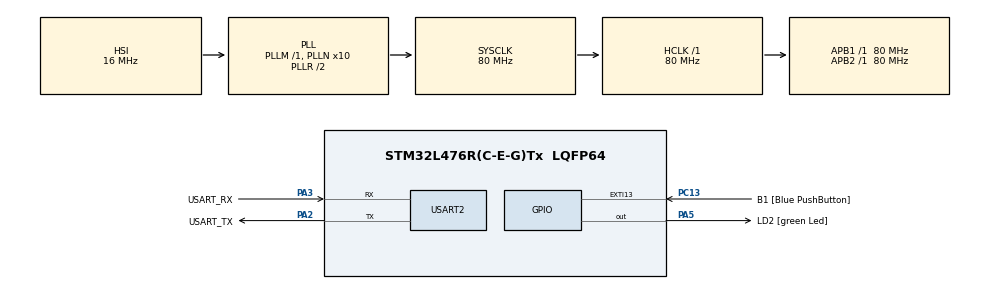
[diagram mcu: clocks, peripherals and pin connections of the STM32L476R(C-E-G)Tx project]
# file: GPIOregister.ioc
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Mcu.Family=STM32L4
Mcu.Name=STM32L476R(C-E-G)Tx
Mcu.Package=LQFP64
NVIC.PriorityGroup=NVIC_PRIORITYGROUP_4
PA13\ (JTMS-SWDIO).GPIO_Label=TMS
PA13\ (JTMS-SWDIO).Mode=Serial_Wire
PA13\ (JTMS-SWDIO).Signal=SYS_JTMS-SWDIO
PA14\ (JTCK-SWCLK).GPIO_Label=TCK
PA14\ (JTCK-SWCLK).Mode=Serial_Wire
PA14\ (JTCK-SWCLK).Signal=SYS_JTCK-SWCLK
PA2.GPIO_Label=USART_TX
PA2.GPIO_Mode=GPIO_MODE_AF_PP
PA2.GPIO_PuPd=GPIO_NOPULL
PA2.GPIO_Speed=GPIO_SPEED_FREQ_VERY_HIGH
PA2.Mode=Asynchronous
PA2.Signal=USART2_TX
PA3.GPIO_Label=USART_RX
PA3.GPIO_Mode=GPIO_MODE_AF_PP
PA3.GPIO_PuPd=GPIO_NOPULL
PA3.GPIO_Speed=GPIO_SPEED_FREQ_VERY_HIGH
PA3.Mode=Asynchronous
PA3.Signal=USART2_RX
PA5.GPIO_Label=LD2 [green Led]
PA5.GPIO_ModeDefaultOutputPP=GPIO_MODE_OUTPUT_PP
PA5.GPIO_PuPd=GPIO_NOPULL
PA5.GPIO_Speed=GPIO_SPEED_FREQ_LOW
PA5.Signal=GPIO_Output
PB3\ (JTDO-TRACESWO).GPIO_Label=SWO
PB3\ (JTDO-TRACESWO).Signal=SYS_JTDO-SWO
PC13.GPIO_Label=B1 [Blue PushButton]
PC13.GPIO_ModeDefaultEXTI=GPIO_MODE_IT_FALLING
PC13.GPIO_PuPd=GPIO_NOPULL
PC13.Signal=GPXTI13
PC14-OSC32_IN\ (PC14).Mode=LSE-External-Oscillator
PC14-OSC32_IN\ (PC14).Signal=RCC_OSC32_IN
PC15-OSC32_OUT\ (PC15).Mode=LSE-External-Oscillator
PC15-OSC32_OUT\ (PC15).Signal=RCC_OSC32_OUT
PH0-OSC_IN\ (PH0).Signal=RCC_OSC_IN
PH1-OSC_OUT\ (PH1).Signal=RCC_OSC_OUT
ProjectManager.HeapSize=0x200
ProjectManager.StackSize=0x400
ProjectManager.TargetToolchain=STM32CubeIDE
RCC.ADCFreq_Value=64000000
RCC.AHBFreq_Value=80000000
RCC.APB1Freq_Value=80000000
RCC.APB1TimFreq_Value=80000000
RCC.APB2Freq_Value=80000000
RCC.APB2TimFreq_Value=80000000
RCC.CortexFreq_Value=80000000
RCC.HCLKFreq_Value=80000000
RCC.HSE_VALUE=8000000
RCC.HSI_VALUE=16000000
RCC.MSI_VALUE=4000000
RCC.PLLN=10
RCC.PLLSourceVirtual=RCC_PLLSOURCE_HSI
RCC.PREFETCH_ENABLE=1
RCC.SYSCLKFreq_VALUE=80000000
RCC.SYSCLKSource=RCC_SYSCLKSOURCE_PLLCLK
RCC.USBFreq_Value=64000000
RCC.VCOOutputFreq_Value=160000000
USART2.VirtualMode-Asynchronous=VM_ASYNC
board=NUCLEO-L476RG

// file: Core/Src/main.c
/* USER CODE BEGIN Header */
/**
  ******************************************************************************
  * @file           : main.c
  * @brief          : Main program body
  ******************************************************************************
  * @attention
  *
  * Copyright (c) 2022 STMicroelectronics.
  * All rights reserved.
  *
  * This software is licensed under terms that can be found in the LICENSE file
  * in the root directory of this software component.
  * If no LICENSE file comes with this software, it is provided AS-IS.
  *
  ******************************************************************************
  */
/* USER CODE END Header */
#include "main.h"

/* USER CODE BEGIN Includes */
#include <stdio.h>
/* USER CODE END Includes */

 UART_HandleTypeDef huart2;

/* USER CODE BEGIN PV */
 uint32_t* gpioa = (uint32_t*)(0x48000000);
 uint32_t* rcc = (uint32_t*)(0x40021000);
 uint32_t* tim6 = (uint32_t*)(0x40001000);
 uint32_t* tim2 = (uint32_t*)(0x40000000);
 uint32_t* exti = (uint32_t*)(0x40010400);
 uint32_t* syscfg = (uint32_t*)(0x40010000);
/* USER CODE END PV */

void SystemClock_Config(void);
static void MX_GPIO_Init(void);
static void MX_USART2_UART_Init(void);

/* USER CODE BEGIN 0 */
//////////////////////////////////////////////////////////////
int _write(int fd, char* ptr, int len)
{
	HAL_UART_Transmit(&huart2, (uint8_t*)ptr, len, HAL_MAX_DELAY);
	return len;
}
//////////////////////////////////////////////////////////////
void TIM6_DAC_IRQHandler()
{
	printf("tim6 event \n\r");
	tim6[4]= 0;
}
//////////////////////////////////////////////////////////////
/* USER CODE END 0 */

int main(void)
{

  /* MCU Configuration--------------------------------------------------------*/

  /* Reset of all peripherals, Initializes the Flash interface and the Systick. */
  HAL_Init();

  /* USER CODE BEGIN Init */
  HAL_NVIC_EnableIRQ(TIM6_DAC_IRQn);

  /* USER CODE END Init */

  /* Configure the system clock */
  SystemClock_Config();

  /* Initialize all configured peripherals */
  MX_GPIO_Init();
  MX_USART2_UART_Init();
  /* USER CODE BEGIN 2 */
  uint32_t bit1Mask = 1;
  uint32_t bit4Mask = (1<<4);
  uint32_t bit6Mask = (1<<6);
  uint32_t bit10Mask = (1<<10);
  uint32_t bit11Mask = (1<<11);
  uint32_t bit12Mask = (1<<12);

  uint32_t mode5Mask = (3<<10);
  uint32_t mode6Mask = (3<<12);
  uint32_t mode10Mask = (3<<20);

  uint32_t sys2Mask = (15<<2*4);

  uint32_t temp = 0;

  //rcc init
  rcc[19]|=1;
  //
  temp = rcc[22];
  temp |=bit4Mask; //enable tim6 bit 4
  rcc[22] = temp;

  //gpio init
  temp = gpioa[0];
  temp &=~mode10Mask; //init butoon input 00
  temp &=~mode6Mask;  //reset gpio6
  temp |= bit12Mask;  // init gpio6 output 01

  gpioa[0] = temp;

  //tim6 init
  tim6[0]|=1; // CR1
  tim6[3]|=1; // Interrupt enable register
  tim6[5]|=1; //  TIM6 enable counter
  tim6[10] = 7999; // TIM6 prescaler
  tim6[11] = 9999; // TIM6 auto-reload register

  //exti
  exti[0]|= bit10Mask;
  exti[2]|= bit10Mask; //Rising trigger

  //sys
  sys[4]&=~sys2Mask; //init 0000

  /* USER CODE END 2 */

  /* Infinite loop */
  while (1)
  {

    /* USER CODE BEGIN 3 */
	  temp = gpioa[4] & bit10Mask;
	  if(temp != 0){
		  //printf("off\n\r");
		  gpioa[6] |= bit6Mask;
	  }
	  else{
		  printf("on\n\r");
		  gpioa[6] |= (bit6Mask << 16);
	  }

  }
  /* USER CODE END 3 */
}

void SystemClock_Config(void)
{
  RCC_OscInitTypeDef RCC_OscInitStruct = {0};
  RCC_ClkInitTypeDef RCC_ClkInitStruct = {0};

  /** Configure the main internal regulator output voltage
  */
  if (HAL_PWREx_ControlVoltageScaling(PWR_REGULATOR_VOLTAGE_SCALE1) != HAL_OK)
  {
    Error_Handler();
  }

  /** Initializes the RCC Oscillators according to the specified parameters
  * in the RCC_OscInitTypeDef structure.
  */
  RCC_OscInitStruct.OscillatorType = RCC_OSCILLATORTYPE_HSI;
  RCC_OscInitStruct.HSIState = RCC_HSI_ON;
  RCC_OscInitStruct.HSICalibrationValue = RCC_HSICALIBRATION_DEFAULT;
  RCC_OscInitStruct.PLL.PLLState = RCC_PLL_ON;
  RCC_OscInitStruct.PLL.PLLSource = RCC_PLLSOURCE_HSI;
  RCC_OscInitStruct.PLL.PLLM = 1;
  RCC_OscInitStruct.PLL.PLLN = 10;
  RCC_OscInitStruct.PLL.PLLP = RCC_PLLP_DIV7;
  RCC_OscInitStruct.PLL.PLLQ = RCC_PLLQ_DIV2;
  RCC_OscInitStruct.PLL.PLLR = RCC_PLLR_DIV2;
  if (HAL_RCC_OscConfig(&RCC_OscInitStruct) != HAL_OK)
  {
    Error_Handler();
  }

  /** Initializes the CPU, AHB and APB buses clocks
  */
  RCC_ClkInitStruct.ClockType = RCC_CLOCKTYPE_HCLK|RCC_CLOCKTYPE_SYSCLK
                              |RCC_CLOCKTYPE_PCLK1|RCC_CLOCKTYPE_PCLK2;
  RCC_ClkInitStruct.SYSCLKSource = RCC_SYSCLKSOURCE_PLLCLK;
  RCC_ClkInitStruct.AHBCLKDivider = RCC_SYSCLK_DIV1;
  RCC_ClkInitStruct.APB1CLKDivider = RCC_HCLK_DIV1;
  RCC_ClkInitStruct.APB2CLKDivider = RCC_HCLK_DIV1;

  if (HAL_RCC_ClockConfig(&RCC_ClkInitStruct, FLASH_LATENCY_4) != HAL_OK)
  {
    Error_Handler();
  }
}

static void MX_USART2_UART_Init(void)
{

  huart2.Instance = USART2;
  huart2.Init.BaudRate = 115200;
  huart2.Init.WordLength = UART_WORDLENGTH_8B;
  huart2.Init.StopBits = UART_STOPBITS_1;
  huart2.Init.Parity = UART_PARITY_NONE;
  huart2.Init.Mode = UART_MODE_TX_RX;
  huart2.Init.HwFlowCtl = UART_HWCONTROL_NONE;
  huart2.Init.OverSampling = UART_OVERSAMPLING_16;
  huart2.Init.OneBitSampling = UART_ONE_BIT_SAMPLE_DISABLE;
  huart2.AdvancedInit.AdvFeatureInit = UART_ADVFEATURE_NO_INIT;
  if (HAL_UART_Init(&huart2) != HAL_OK)
  {
    Error_Handler();
  }

}

static void MX_GPIO_Init(void)
{
  GPIO_InitTypeDef GPIO_InitStruct = {0};

  /* GPIO Ports Clock Enable */
  __HAL_RCC_GPIOC_CLK_ENABLE();
  __HAL_RCC_GPIOH_CLK_ENABLE();
  __HAL_RCC_GPIOA_CLK_ENABLE();
  __HAL_RCC_GPIOB_CLK_ENABLE();

  /*Configure GPIO pin Output Level */
  HAL_GPIO_WritePin(LD2_GPIO_Port, LD2_Pin, GPIO_PIN_RESET);

  /*Configure GPIO pin : B1_Pin */
  GPIO_InitStruct.Pin = B1_Pin;
  GPIO_InitStruct.Mode = GPIO_MODE_IT_FALLING;
  GPIO_InitStruct.Pull = GPIO_NOPULL;
  HAL_GPIO_Init(B1_GPIO_Port, &GPIO_InitStruct);

  /*Configure GPIO pin : LD2_Pin */
  GPIO_InitStruct.Pin = LD2_Pin;
  GPIO_InitStruct.Mode = GPIO_MODE_OUTPUT_PP;
  GPIO_InitStruct.Pull = GPIO_NOPULL;
  GPIO_InitStruct.Speed = GPIO_SPEED_FREQ_LOW;
  HAL_GPIO_Init(LD2_GPIO_Port, &GPIO_InitStruct);

}

void Error_Handler(void)
{
  __disable_irq();
  while (1)
  {
  }
}
